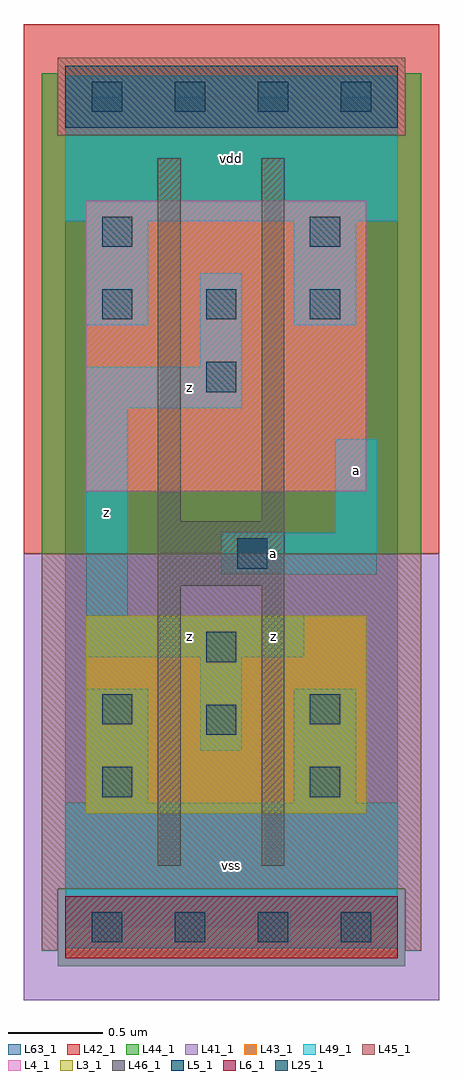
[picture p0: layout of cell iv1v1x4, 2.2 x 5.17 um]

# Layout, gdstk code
import gdstk
lib = gdstk.Library(unit=1e-6, precision=1e-09)
def R(c, l, rs):  # rectangles x0, y0, x1, y1
    for r in rs: c.add(gdstk.rectangle(r[:2], r[2:], *l))
def A(c, l, x, y, w, h, nx, ny, dx, dy):  # array of equal rectangles
    R(c, l, [(x+i*dx, y+j*dy, x+i*dx+w, y+j*dy+h) for i in range(nx) for j in range(ny)])
L3_1 = (3, 1)
L4_1 = (4, 1)
L5_1 = (5, 1)
L6_1 = (6, 1)
L25_1 = (25, 1)
L41_1 = (41, 1)
L42_1 = (42, 1)
L43_1 = (43, 1)
L44_1 = (44, 1)
L45_1 = (45, 1)
L46_1 = (46, 1)
L49_1 = (49, 1)
L63_1 = (63, 1)

iv1v1x4 = lib.new_cell('iv1v1x4')
R(iv1v1x4, L3_1, [(0.11,0.605,1.595,1.65)])
R(iv1v1x4, L4_1, [(0.11,2.31,1.595,3.85)])
R(iv1v1x4, L5_1, [(0,4.235,1.76,4.565)])
R(iv1v1x4, L6_1, [(0,-0.165,1.76,0.165)])
A(iv1v1x4, L25_1, 0.14, -0.08, 0.16, 0.16, 4, 2, 0.44, 4.4)
A(iv1v1x4, L25_1, 0.195, 3.22, 0.16, 0.16, 3, 1, 0.55, 0)
R(iv1v1x4, L25_1, [(0.195,0.69,0.355,0.85), (1.295,0.69,1.455,0.85), (0.745,1.02,0.905,1.18), (0.195,1.075,0.355,1.235), (1.295,1.075,1.455,1.235), (0.745,1.405,0.905,1.565), (0.91,1.9,1.07,2.06), (0.745,2.835,0.905,2.995), (0.195,3.605,0.355,3.765), (1.295,3.605,1.455,3.765)])
R(iv1v1x4, L41_1, [(-0.22,-0.385,1.98,1.98)])
R(iv1v1x4, L42_1, [(-0.22,1.98,1.98,4.785)])
R(iv1v1x4, L43_1, [(0,-0.165,1.76,0.165), (0.11,0.605,1.595,1.65), (0.11,2.31,1.595,3.85), (0,4.235,1.76,4.565)])
R(iv1v1x4, L44_1, [(-0.04,-0.205,1.8,0.205), (-0.125,1.98,1.885,4.195), (-0.125,4.195,-0.04,4.525), (1.8,4.195,1.885,4.525)])
R(iv1v1x4, L45_1, [(-0.125,-0.125,-0.04,0.205), (1.8,-0.125,1.885,0.205), (-0.125,0.205,1.885,1.98), (-0.04,4.195,1.8,4.605)])
R(iv1v1x4, L46_1, [(0.49,0.325,0.61,1.81), (1.04,0.325,1.16,1.81), (0.49,1.81,1.16,2.15), (0.49,2.15,0.61,4.075), (1.04,2.15,1.16,4.075)])
R(iv1v1x4, L49_1, [(0,-0.11,1.76,0.66), (0.11,0.66,0.44,1.265), (1.21,0.66,1.54,1.265), (0.715,0.935,0.935,1.43), (0.11,1.43,1.265,1.65), (0.11,1.65,0.33,2.75), (0.825,1.87,1.65,2.09), (1.43,2.09,1.65,2.585), (0.11,2.75,0.935,2.97), (0.715,2.97,0.935,3.465), (0.11,3.19,0.44,3.74), (1.21,3.19,1.54,3.74), (0,3.74,1.76,4.51)])
R(iv1v1x4, L63_1, [(0,0,1.76,4.4)])
iv1v1x4.add(gdstk.Label('z', (0.22,2.2), layer=49, texttype=1))
iv1v1x4.add(gdstk.Label('z', (0.66,1.54), layer=49, texttype=1))
iv1v1x4.add(gdstk.Label('z', (0.66,2.86), layer=49, texttype=1))
iv1v1x4.add(gdstk.Label('vss', (0.88,0.33), layer=49, texttype=1))
iv1v1x4.add(gdstk.Label('a', (1.1,1.98), layer=49, texttype=1))
iv1v1x4.add(gdstk.Label('z', (1.1,1.54), layer=49, texttype=1))
iv1v1x4.add(gdstk.Label('vdd', (0.88,4.07), layer=49, texttype=1))
iv1v1x4.add(gdstk.Label('a', (1.54,2.42), layer=49, texttype=1))

lib.write_gds('iv1v1x4.gds')
